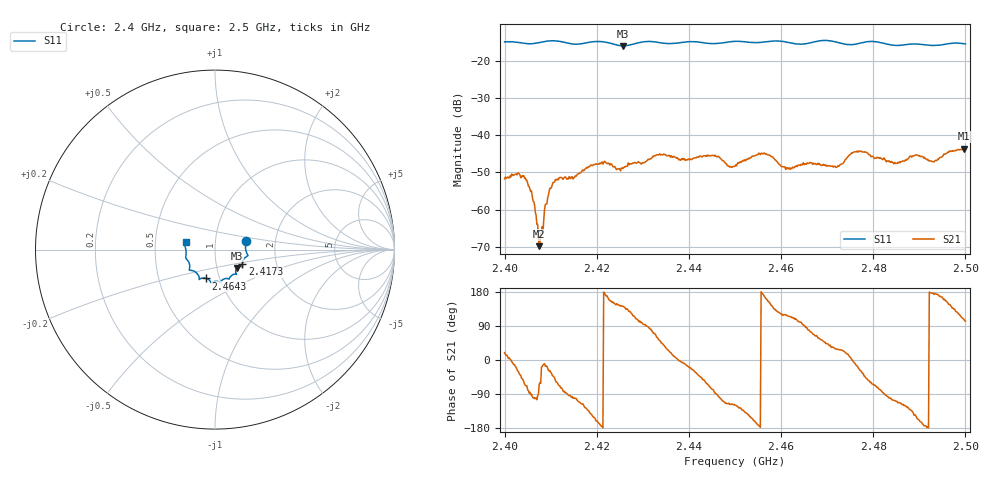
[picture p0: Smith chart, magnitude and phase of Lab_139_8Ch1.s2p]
# Hz S RI R 50
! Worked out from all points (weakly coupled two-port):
!   601 points, 2.4 GHz to 2.5 GHz, reference 50 ohm
!   highest |S21| = -43.58 dB at 2.4997 GHz (marker M1); lowest = -69.9 dB at 2.4075 GHz (marker M2)
!   lowest |S11| = -15.9 dB at 2.4257 GHz (marker M3), VSWR 1.38, Z = 62.4 - j13.1 ohm
!   |S11| at or under -10 dB: start of sweep to end of sweep
!   S12 and S22 are empty: the file has one direction only
!   S11 on the Smith chart (normalised r, x): 2.4 GHz: 1.41, +0.15; 2.4173 GHz: 1.34, -0.23; 2.4643 GHz: 0.86, -0.28; 2.5 GHz: 0.72, +0.06
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2.4e9  0.1734 0.0498  0.00244 0.000863  0 0  0 0
2.4045e9  0.1705 0.0195  0.00105 -0.00244  0 0  0 0
2.406e9  0.1707 0.000946  -0.000184 -0.00151  0 0  0 0
2.4075e9  0.1758 -0.016  0.000137 -0.000291  0 0  0 0
2.408e9  0.1781 -0.021  0.000415 -0.000142  0 0  0 0
2.409167e9  0.1821 -0.0296  0.00114 -0.000336  0 0  0 0
2.410667e9  0.1835 -0.034  0.00167 -0.00161  0 0  0 0
2.416667e9  0.1531 -0.0746  -0.00138 -0.0029  0 0  0 0
2.417333e9  0.1524 -0.0822  -0.00192 -0.00283  0 0  0 0
2.425667e9  0.1223 -0.1023  -0.00281 0.00221  0 0  0 0
2.433333e9  0.1129 -0.1369  0.00303 0.00452  0 0  0 0
2.45e9  0.0296 -0.1811  -0.00185 -0.00335  0 0  0 0
2.455833e9  -0.00543 -0.1781  -0.00573 0.000262  0 0  0 0
2.4615e9  -0.0274 -0.1753  -0.00159 0.00326  0 0  0 0
2.464333e9  -0.0501 -0.1605  -0.000702 0.004  0 0  0 0
2.466667e9  -0.076 -0.16  0.00129 0.00405  0 0  0 0
2.472167e9  -0.0881 -0.1549  0.00333 0.00176  0 0  0 0
2.477e9  -0.127 -0.1166  0.0055 -0.00255  0 0  0 0
2.483333e9  -0.1408 -0.0893  -0.000738 -0.00437  0 0  0 0
2.493333e9  -0.161 -0.0101  -0.00446 0.000353  0 0  0 0
2.499667e9  -0.1654 0.0401  -0.00203 0.00631  0 0  0 0
2.5e9  -0.1636 0.0422  -0.00146 0.00643  0 0  0 0
